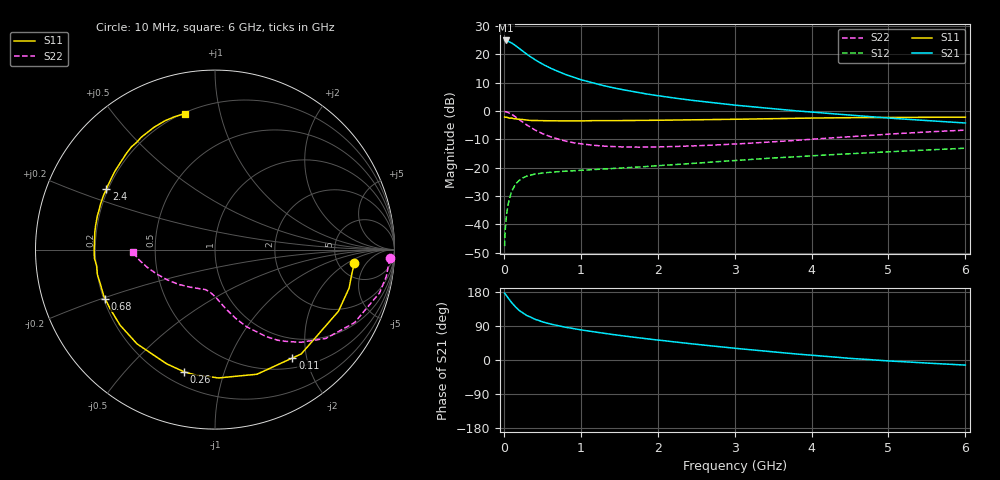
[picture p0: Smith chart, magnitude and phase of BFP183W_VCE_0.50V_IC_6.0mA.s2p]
! Infineon Technologies  Discrete & RF Semiconductors
! BFP183W
! VCE = 0.50V,  IC =  6.0 mA
! Common Emitter S-Parameters:  Jan 2016
# GHz  S  MA  R  50
!  f  S11  S21  S12  S22
! GHz  MAG  ANG  MAG  ANG  MAG  ANG  MAG  ANG
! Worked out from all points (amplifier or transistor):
!   210 points, 10 MHz to 6 GHz, reference 50 ohm
!   highest |S21| = 24.9 dB at 30 MHz (marker M1)
!   |S21| within 3 dB of that: start of sweep to 208.5 MHz
!   unconditionally stable (mu >= 1): 1.394 GHz to end of sweep
!   at 185 MHz: K = 0.18, MSG = 23.6 dB, |S12| = -24.9 dB
!   at 1.52 GHz: K = 1.06, MAG = 12.5 dB, |S12| = -20.2 dB
!   at 6 GHz: K = 1.20, MAG = 1.8 dB, |S12| = -13.1 dB
!   S11 on the Smith chart (normalised r, x): 10 MHz: 7.07, -2.64; 110 MHz: 0.65, -1.75; 260 MHz: 0.28, -0.74; 680 MHz: 0.21, -0.20; 2.4 GHz: 0.19, +0.25; 6 GHz: 0.21, +0.78
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0.01  0.7796 -5.4  17.51 176.4  0.0041 87.4  0.9756 -2.9
0.03  0.7773 -16.0  17.55 171.2  0.0126 82.3  0.9661 -8.9
0.05  0.7688 -26.5  17.2 165.1  0.0205 76.8  0.9482 -14.7
0.1  0.7543 -50.4  15.93 151.7  0.0374 65.1  0.8776 -27.6
0.11  0.7421 -54.5  15.56 149.6  0.0399 62.7  0.858 -29.6
0.15  0.7328 -71.4  14.33 140.0  0.0505 55.5  0.7915 -38.7
0.2  0.7153 -88.5  12.68 130.7  0.0597 48.2  0.7037 -47.2
0.26  0.7025 -104.1  10.99 122.3  0.0671 41.7  0.6143 -55.3
0.3  0.6911 -112.9  9.963 117.2  0.0708 38.6  0.5627 -59.5
0.4  0.6816 -129.6  8.069 107.8  0.0766 32.8  0.4649 -67.7
0.5  0.676 -141.4  6.719 100.8  0.0802 29.6  0.3983 -73.4
0.6  0.6709 -150.3  5.726 95.1  0.0825 27.6  0.3518 -77.9
0.68  0.6706 -156.0  5.148 91.6  0.0843 26.7  0.3257 -80.6
0.8  0.6668 -163.0  4.411 86.5  0.0863 25.8  0.2938 -84.7
1.02  0.6667 -172.9  3.508 78.9  0.0898 25.3  0.2605 -90.4
1.4  0.6738 174.5  2.603 67.7  0.0962 26.4  0.2365 -98.2
2.02  0.6861 158.7  1.844 52.3  0.1084 29.4  0.232 -109.6
2.4  0.6934 150.8  1.567 43.6  0.1172 30.2  0.2396 -117.0
3.1  0.7156 137.6  1.231 29.2  0.1361 30.7  0.2648 -130.4
4.1  0.7506 121.9  0.932 11.1  0.1645 28.7  0.3233 -150.2
5.1  0.7705 110.3  0.733 -3.5  0.1929 25.3  0.3969 -166.8
6  0.7758 102.5  0.613 -13.4  0.2201 21.5  0.4583 -178.3
